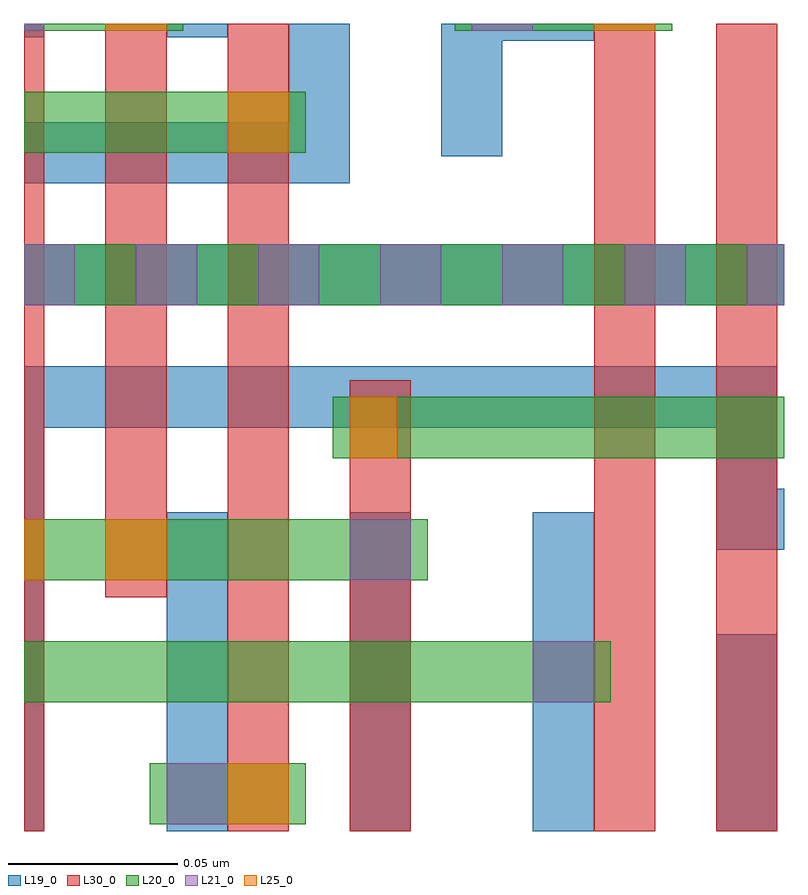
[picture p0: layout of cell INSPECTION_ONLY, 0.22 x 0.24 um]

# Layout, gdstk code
import gdstk
lib = gdstk.Library(unit=1e-6, precision=2.5e-10)
def R(c, l, rs):  # rectangles x0, y0, x1, y1
    for r in rs: c.add(gdstk.rectangle(r[:2], r[2:], *l))
def A(c, l, x, y, w, h, nx, ny, dx, dy):  # array of equal rectangles
    R(c, l, [(x+i*dx, y+j*dy, x+i*dx+w, y+j*dy+h) for i in range(nx) for j in range(ny)])
def P(c, l, *ps):  # polygons
    for p in ps: c.add(gdstk.Polygon(p, *l))
L19_0 = (19, 0)
L20_0 = (20, 0)
L21_0 = (21, 0)
L25_0 = (25, 0)
L30_0 = (30, 0)

inspection_only = lib.new_cell('INSPECTION_ONLY')
A(inspection_only, L19_0, 12.654, 12.526, 0.018, 0.094, 3, 1, 0.054, 0)
R(inspection_only, L19_0, [(12.654,12.526,12.672,12.548), (12.816,12.526,12.834,12.584), (12.762,12.562,12.78,12.584), (12.708,12.598,12.726,12.62), (12.612,12.681,12.836,12.699), (12.612,12.681,12.836,12.699), (12.612,12.681,12.836,12.699), (12.612,12.681,12.798,12.699), (12.798,12.681,12.836,12.699), (12.612,12.76,12.618,12.764), (12.612,12.76,12.618,12.764), (12.654,12.76,12.672,12.764), (12.744,12.76,12.762,12.764)])
P(inspection_only, L19_0, [(12.612,12.526),(12.612,12.663),(12.834,12.663),(12.834,12.627),(12.836,12.627),(12.836,12.609),(12.816,12.609),(12.816,12.645),(12.618,12.645),(12.618,12.526)],
  [(12.612,12.717),(12.612,12.735),(12.69,12.735),(12.69,12.764),(12.708,12.764),(12.708,12.717)],
  [(12.735,12.725),(12.735,12.764),(12.78,12.764),(12.78,12.759),(12.753,12.759),(12.753,12.725)])
R(inspection_only, L20_0, [(12.649,12.528,12.695,12.546), (12.612,12.564,12.785,12.582), (12.612,12.6,12.731,12.618), (12.703,12.636,12.836,12.654), (12.612,12.681,12.836,12.699), (12.612,12.726,12.695,12.744), (12.612,12.762,12.659,12.764), (12.739,12.762,12.803,12.764)])
A(inspection_only, L21_0, 12.645, 12.681, 0.018, 0.018, 5, 1, 0.036, 0)
R(inspection_only, L21_0, [(12.654,12.528,12.672,12.546), (12.762,12.564,12.78,12.582), (12.708,12.6,12.726,12.618), (12.612,12.681,12.627,12.699), (12.825,12.681,12.836,12.699), (12.612,12.762,12.618,12.764), (12.744,12.762,12.762,12.764)])
R(inspection_only, L25_0, [(12.672,12.528,12.69,12.546), (12.612,12.6,12.618,12.618), (12.636,12.6,12.654,12.618), (12.708,12.636,12.722,12.654), (12.672,12.726,12.69,12.744), (12.636,12.762,12.654,12.764), (12.78,12.762,12.798,12.764)])
R(inspection_only, L30_0, [(12.612,12.526,12.618,12.764), (12.672,12.526,12.69,12.764), (12.708,12.526,12.726,12.659), (12.78,12.526,12.798,12.764), (12.816,12.526,12.834,12.764), (12.636,12.595,12.654,12.764)])

lib.write_gds('INSPECTION_ONLY.gds')
